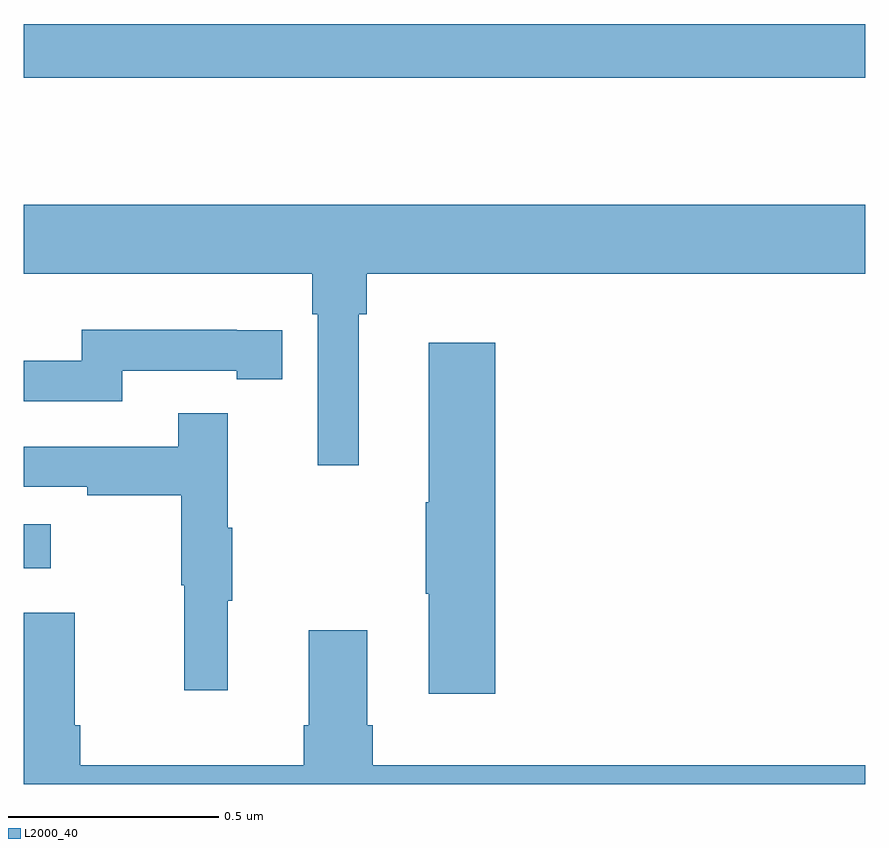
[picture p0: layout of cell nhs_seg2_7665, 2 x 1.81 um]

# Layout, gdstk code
import gdstk
lib = gdstk.Library(unit=1e-6, precision=1e-09)
def R(c, l, rs):  # rectangles x0, y0, x1, y1
    for r in rs: c.add(gdstk.rectangle(r[:2], r[2:], *l))
def P(c, l, *ps):  # polygons
    for p in ps: c.add(gdstk.Polygon(p, *l))
L2000_40 = (2000, 40)

nhs_seg2_7665 = lib.new_cell('nhs_seg2_7665')
R(nhs_seg2_7665, L2000_40, [(207,604.313,207.064,604.417), (207,605.478,209,605.606)])
P(nhs_seg2_7665, L2000_40, [(207.796,604.916),(207.815,604.916),(207.815,605.012),(209,605.012),(209,605.176),(207,605.176),(207,605.012),(207.686,605.012),(207.686,604.916),(207.699,604.916),(207.699,604.557),(207.796,604.557)],
  [(207.234,604.782),(207.506,604.782),(207.506,604.762),(207.614,604.762),(207.614,604.878),(207.506,604.878),(207.506,604.879),(207.138,604.879),(207.138,604.806),(207,604.806),(207,604.71),(207.234,604.71)],
  [(208.121,604.849),(207.962,604.849),(207.962,604.469),(207.955,604.469),(207.955,604.252),(207.962,604.252),(207.962,604.014),(208.121,604.014)],
  [(207.485,604.235),(207.496,604.235),(207.496,604.409),(207.485,604.409),(207.485,604.681),(207.367,604.681),(207.367,604.602),(207,604.602),(207,604.506),(207.151,604.506),(207.151,604.486),(207.375,604.486),(207.375,604.272),(207.382,604.272),(207.382,604.023),(207.485,604.023)],
  [(209,603.844),(207.83,603.844),(207.83,603.94),(207.817,603.94),(207.817,604.165),(207.677,604.165),(207.677,603.94),(207.665,603.94),(207.665,603.844),(207.134,603.844),(207.134,603.94),(207.121,603.94),(207.121,604.207),(207,604.207),(207,603.8),(209,603.8)])

lib.write_gds('nhs_seg2_7665.gds')
